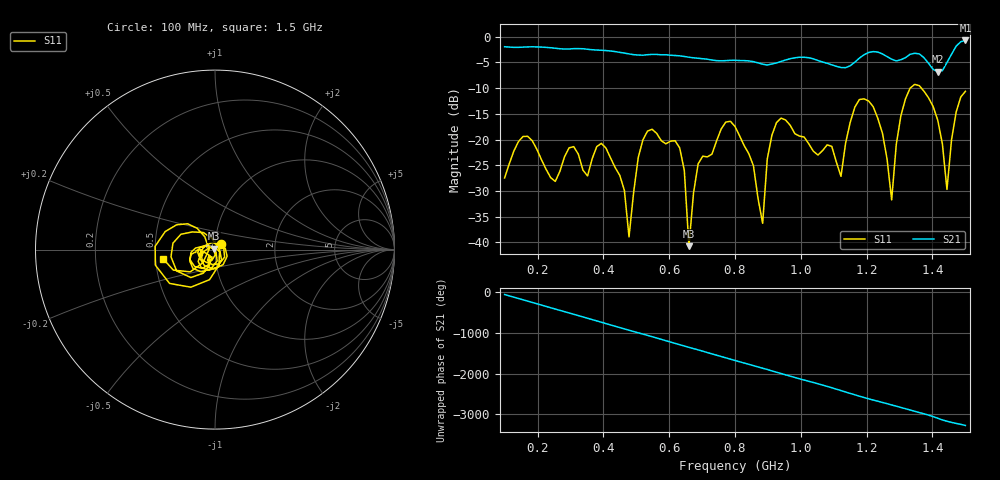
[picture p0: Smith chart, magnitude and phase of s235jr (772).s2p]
! NanoVNA-App
! Date: 2025-09-25 15:10:11
! Start: 100MHz Stop: 1,5GHz Points: 101
! S-Parameter data: F S11 S21 S12 S22
# Hz S RI R 50
!  Frequency  S11_Real  S11_Imag  S21_Real  S21_Imag  S12_Real  S12_Imag  S22_Real  S22_Imag
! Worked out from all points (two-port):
!   101 points, 100 MHz to 1.5 GHz, reference 50 ohm
!   highest |S21| = -0.75 dB at 1.5 GHz (marker M1); lowest = -6.8 dB at 1.416 GHz (marker M2)
!   |S21| within 3 dB of the highest: start of sweep to 632.9 MHz; 1.187 GHz to 1.258 GHz (71.02 MHz wide, 5.81 % of centre)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
!   lowest |S11| = -40.7 dB at 660 MHz (marker M3), VSWR 1.02, Z = 49.3 + j0.547 ohm
!   |S11| at or under -10 dB: start of sweep to 1.332 GHz; 1.366 GHz to end of sweep
!   S12 and S22 are empty: the file has one direction only
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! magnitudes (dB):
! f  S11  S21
! 100 MHz  -27.5  -2.0
! 156 MHz  -19.4  -2.0
! 338 MHz  -25.9  -2.4
! 408 MHz  -21.7  -2.7
! 478 MHz  -38.9  -3.4
! 520 MHz  -20.1  -3.6
! 576 MHz  -20.2  -3.5
! 632 MHz  -21.6  -3.7
! 660 MHz  -40.7  -4.0
! 688 MHz  -24.7  -4.2
! 800 MHz  -17.5  -4.6
! 884 MHz  -36.3  -5.4
! 926 MHz  -16.7  -5.1
! 1.038 GHz  -22.3  -4.3
! 1.122 GHz  -27.2  -6.0
! 1.164 GHz  -13.7  -5.0
! 1.206 GHz  -12.5  -3.1
! 1.276 GHz  -31.7  -4.4
! 1.332 GHz  -10.0  -3.4
! 1.416 GHz  -16.2  -6.8
! 1.444 GHz  -29.7  -5.0
! 1.5 GHz  -10.6  -0.7
